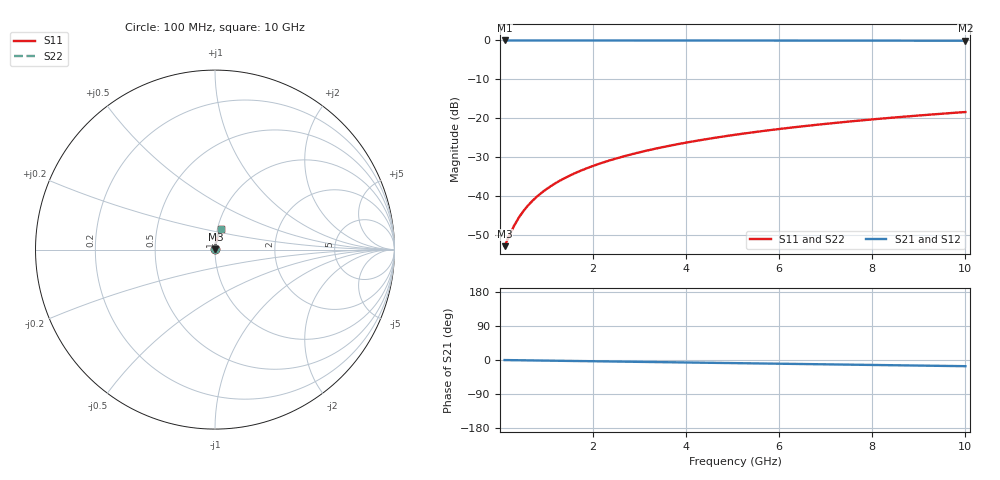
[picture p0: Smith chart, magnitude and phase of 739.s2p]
# Hz S RI R 50.00
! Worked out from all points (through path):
!   100 points, 100 MHz to 10 GHz, reference 50 ohm
!   highest |S21| = -0.02 dB at 100 MHz (marker M1); lowest = -0.1 dB at 10 GHz (marker M2)
!   group delay of S21, straight-line fit = 4.54 ps
!   lowest |S11| = -52.8 dB at 100 MHz (marker M3), VSWR 1.00, Z = 50.2 + j0.122 ohm
!   |S11| at or under -10 dB: start of sweep to end of sweep
!   |S22| runs from -52.8 to -18.4 dB; largest |S21 - S12| = 0
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1e8  0.00194 0.00122  0.9981 -0.00284  0.9981 -0.00284  0.00194 0.00122
2e8  0.00197 0.00243  0.998 -0.00569  0.998 -0.00569  0.00197 0.00243
3e8  0.00199 0.00365  0.998 -0.00853  0.998 -0.00853  0.00199 0.00365
4e8  0.00202 0.00487  0.9979 -0.0114  0.9979 -0.0114  0.00202 0.00487
5e8  0.00206 0.00608  0.9979 -0.0142  0.9979 -0.0142  0.00206 0.00608
6e8  0.0021 0.0073  0.9978 -0.0171  0.9978 -0.0171  0.0021 0.0073
7e8  0.00215 0.00852  0.9978 -0.0199  0.9978 -0.0199  0.00215 0.00852
9e8  0.00227 0.0109  0.9976 -0.0256  0.9976 -0.0256  0.00227 0.0109
1e9  0.00234 0.0122  0.9975 -0.0284  0.9975 -0.0284  0.00234 0.0122
1.2e9  0.0025 0.0146  0.9973 -0.0341  0.9973 -0.0341  0.0025 0.0146
1.5e9  0.00279 0.0182  0.9969 -0.0426  0.9969 -0.0426  0.00279 0.0182
1.8e9  0.00314 0.0219  0.9964 -0.0512  0.9964 -0.0512  0.00314 0.0219
2.1e9  0.00355 0.0255  0.9958 -0.0597  0.9958 -0.0597  0.00355 0.0255
2.5e9  0.0042 0.0303  0.9949 -0.071  0.9949 -0.071  0.0042 0.0303
2.9e9  0.00495 0.0351  0.9939 -0.0823  0.9939 -0.0823  0.00495 0.0351
3.4e9  0.00605 0.0411  0.9924 -0.0965  0.9924 -0.0965  0.00605 0.0411
4.2e9  0.00815 0.0506  0.9894 -0.119  0.9894 -0.119  0.00815 0.0506
5.1e9  0.011 0.0612  0.9854 -0.1443  0.9854 -0.1443  0.011 0.0612
5.9e9  0.0141 0.0704  0.9812 -0.1666  0.9812 -0.1666  0.0141 0.0704
6.7e9  0.0175 0.0795  0.9764 -0.1888  0.9764 -0.1888  0.0175 0.0795
8.4e9  0.0261 0.0983  0.9643 -0.2354  0.9643 -0.2354  0.0261 0.0983
1e10  0.0359 0.1151  0.9505 -0.2785  0.9505 -0.2785  0.0359 0.1151
